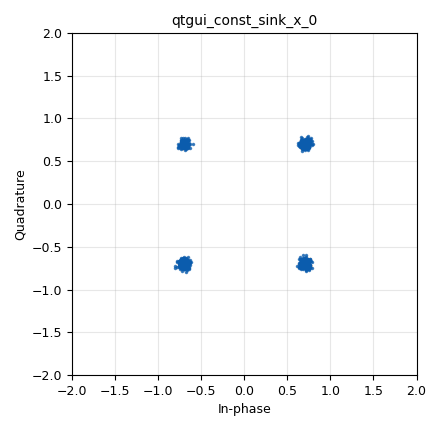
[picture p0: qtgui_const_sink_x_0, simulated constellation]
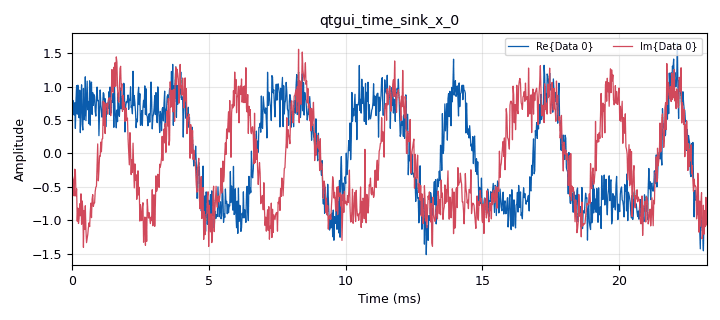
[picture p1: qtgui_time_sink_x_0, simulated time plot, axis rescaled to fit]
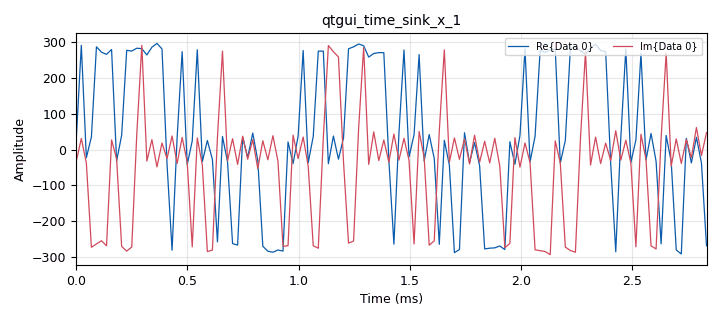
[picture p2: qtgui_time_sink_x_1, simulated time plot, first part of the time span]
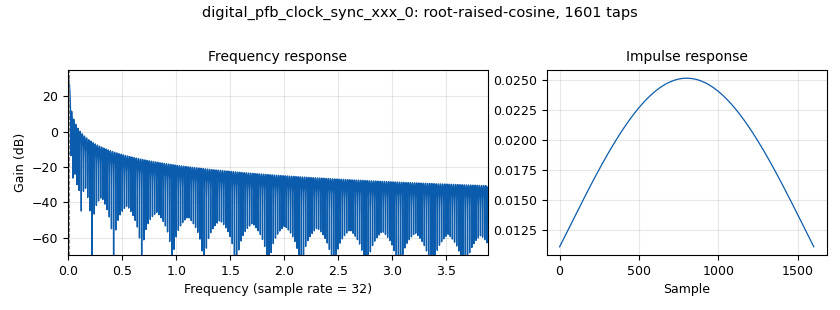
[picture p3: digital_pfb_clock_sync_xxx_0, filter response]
options:
  parameters:
    author: peter
    generate_options: qt_gui
    id: burst_mode
    output_language: python
    title: burst mode test
  states: {}

blocks:
- name: qpsk
  id: variable_constellation_rect
  parameters:
    const_points: '[-1-1j, -1+1j, 1+1j, 1-1j]'
    imag_sect: '2'
    real_sect: '2'
    rot_sym: '4'
    sym_map: '[0, 1, 3, 2]'
    w_imag_sect: '1'
    w_real_sect: '1'
  states: {}
- name: rrc_taps
  id: variable
  parameters:
    value: firdes.root_raised_cosine(32, 32, 1.0/float(50), 0.7, 1*50*32)
  states: {}
- name: samp_rate
  id: variable
  parameters:
    value: '44100'
  states: {}
- name: analog_random_source_x_0
  id: analog_random_source_x
  parameters:
    max: '255'
    min: '0'
    num_samps: '10'
    repeat: 'True'
    type: byte
  states: {}
- name: blocks_stream_mux_0
  id: blocks_stream_mux
  parameters:
    lengths: (1,10)
    type: byte
  states: {}
- name: blocks_throttle_0
  id: blocks_throttle
  parameters:
    samples_per_second: samp_rate
    type: complex
  states: {}
- name: blocks_vector_source_x_0
  id: blocks_vector_source_x
  parameters:
    repeat: 'True'
    type: byte
    vector: (0xac,0xdd)
  states: {}
- name: channels_channel_model_0
  id: channels_channel_model
  parameters:
    epsilon: '1.0'
    freq_offset: '0.0'
    noise_voltage: '0.3'
    seed: '0'
    taps: '1.0'
  states: {}
- name: digital_constellation_modulator_0
  id: digital_constellation_modulator
  parameters:
    constellation: qpsk
    differential: 'False'
    excess_bw: '0.7'
    samples_per_symbol: '50'
  states: {}
- name: digital_corr_est_cc_0
  id: digital_corr_est_cc
  parameters:
    mark_delay: '0'
    sps: '50'
    symbols: (0xac,0xdd)
    threshold: '0.9'
    threshold_method: digital.THRESHOLD_ABSOLUTE
  states: {}
- name: digital_pfb_clock_sync_xxx_0
  id: digital_pfb_clock_sync_xxx
  parameters:
    filter_size: '32'
    init_phase: '16'
    loop_bw: '6.28e-3'
    max_dev: '1.5'
    osps: '1'
    sps: '50'
    taps: rrc_taps
    type: ccf
  states: {}
- name: qtgui_const_sink_x_0
  id: qtgui_const_sink_x
  parameters:
    size: '1024'
    type: complex
  states: {}
- name: qtgui_time_sink_x_0
  id: qtgui_time_sink_x
  parameters:
    size: '1024'
    srate: samp_rate
    type: complex
  states: {}
- name: qtgui_time_sink_x_1
  id: qtgui_time_sink_x
  parameters:
    autoscale: 'True'
    size: '1024'
    srate: samp_rate
    type: complex
  states: {}

connections:
- [analog_random_source_x_0, '0', blocks_stream_mux_0, '1']
- [blocks_stream_mux_0, '0', digital_constellation_modulator_0, '0']
- [blocks_throttle_0, '0', channels_channel_model_0, '0']
- [blocks_vector_source_x_0, '0', blocks_stream_mux_0, '0']
- [channels_channel_model_0, '0', digital_pfb_clock_sync_xxx_0, '0']
- [channels_channel_model_0, '0', qtgui_time_sink_x_0, '0']
- [digital_constellation_modulator_0, '0', blocks_throttle_0, '0']
- [digital_corr_est_cc_0, '0', qtgui_const_sink_x_0, '0']
- [digital_corr_est_cc_0, '1', qtgui_time_sink_x_1, '0']
- [digital_pfb_clock_sync_xxx_0, '0', digital_corr_est_cc_0, '0']

metadata:
  file_format: 1
